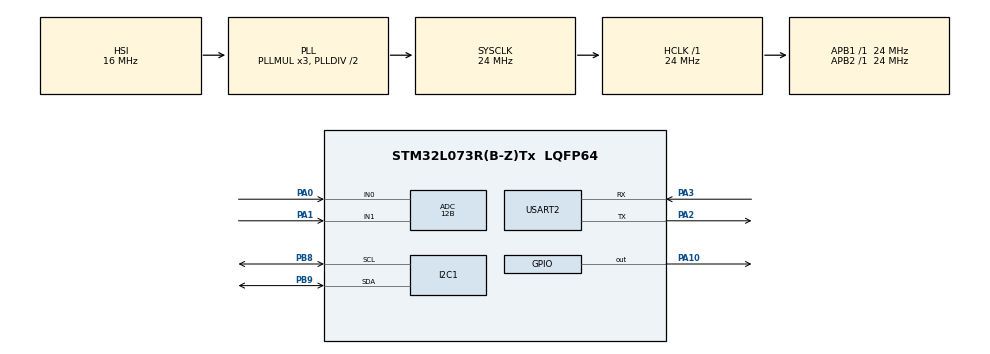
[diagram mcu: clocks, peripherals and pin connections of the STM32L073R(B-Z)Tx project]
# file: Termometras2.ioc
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ADC.ClockPrescaler=ADC_CLOCK_ASYNC_DIV2
ADC.DiscontinuousConvMode=ENABLE
ADC.Resolution=ADC_RESOLUTION_12B
ADC.SamplingTime=ADC_SAMPLETIME_39CYCLES_5
I2C1.Timing=0x00506682
Mcu.Family=STM32L0
Mcu.Name=STM32L073R(B-Z)Tx
Mcu.Package=LQFP64
NVIC.TIM3_IRQn=true\:0\:0\:false\:false\:true\:true\:true\:true
NVIC.TIM6_DAC_IRQn=true\:0\:0\:false\:false\:true\:true\:true\:true
PA0.Mode=IN0
PA0.Signal=ADC_IN0
PA1.Mode=IN1
PA1.Signal=ADC_IN1
PA10.Signal=GPIO_Output
PA13.Mode=Serial_Wire
PA13.Signal=SYS_SWDIO
PA14.Mode=Serial_Wire
PA14.Signal=SYS_SWCLK
PA2.GPIO_PuPd=GPIO_PULLUP
PA2.Mode=Asynchronous
PA2.Signal=USART2_TX
PA3.GPIO_PuPd=GPIO_PULLUP
PA3.Mode=Asynchronous
PA3.Signal=USART2_RX
PB8.GPIO_Pu=GPIO_PULLUP
PB8.Mode=I2C
PB8.Signal=I2C1_SCL
PB9.GPIO_Pu=GPIO_PULLUP
PB9.Mode=I2C
PB9.Signal=I2C1_SDA
PH0-OSC_IN.Mode=HSE-External-Oscillator
PH0-OSC_IN.Signal=RCC_OSC_IN
PH1-OSC_OUT.Mode=HSE-External-Oscillator
PH1-OSC_OUT.Signal=RCC_OSC_OUT
ProjectManager.HeapSize=0x200
ProjectManager.StackSize=0x400
ProjectManager.TargetToolchain=MDK-ARM V5.32
RCC.AHBFreq_Value=24000000
RCC.APB1Freq_Value=24000000
RCC.APB1TimFreq_Value=24000000
RCC.APB2Freq_Value=24000000
RCC.APB2TimFreq_Value=24000000
RCC.HCLKFreq_Value=24000000
RCC.HSE_VALUE=8000000
RCC.HSI16_VALUE=16000000
RCC.HSI48_VALUE=48000000
RCC.HSI_VALUE=16000000
RCC.LSE_VALUE=32768
RCC.MSI_VALUE=2097000
RCC.SYSCLKFreq_VALUE=24000000
RCC.SYSCLKSource=RCC_SYSCLKSOURCE_PLLCLK
RCC.VCOOutputFreq_Value=48000000
TIM3.Period=24000
TIM3.Prescaler=2000
TIM6.Period=24000
TIM6.Prescaler=2000
USART2.VirtualMode-Asynchronous=VM_ASYNC
VP_TIM3_VS_ClockSourceINT.Mode=Internal
VP_TIM6_VS_ClockSourceINT.Mode=Enable_Timer
board=custom

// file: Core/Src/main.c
/* USER CODE BEGIN Header */
/**
  ******************************************************************************
  * @file           : main.c
  * @brief          : Main program body
  ******************************************************************************
  * @attention
  *
  * Copyright (c) 2024 STMicroelectronics.
  * All rights reserved.
  *
  * This software is licensed under terms that can be found in the LICENSE file
  * in the root directory of this software component.
  * If no LICENSE file comes with this software, it is provided AS-IS.
  *
  ******************************************************************************
  */
/* USER CODE END Header */
#include "main.h"

/* USER CODE BEGIN Includes */
 #include "i2c-lcd.h"
 #include <stdio.h>
 #include <string.h>
/* USER CODE END Includes */

/* USER CODE BEGIN PD */
#define UART_TIMEOUT 100
/* USER CODE END PD */

ADC_HandleTypeDef hadc;

I2C_HandleTypeDef hi2c1;

TIM_HandleTypeDef htim3;
TIM_HandleTypeDef htim6;

UART_HandleTypeDef huart2;

/* USER CODE BEGIN PV */
unsigned int array1[10], array2[10];
unsigned int i=0,  j=0, counter;
uint16_t adcval1=0, adcval2=0;
uint8_t msg[100];
float temp1, temp2, Vout1, Vout2, vid, max1 = 0, min1=30, min2=30, max2=0, range1 = 0, range2 = 0;
/* USER CODE END PV */

void SystemClock_Config(void);
static void MX_GPIO_Init(void);
static void MX_ADC_Init(void);
static void MX_USART2_UART_Init(void);
static void MX_I2C1_Init(void);
static void MX_TIM6_Init(void);
static void MX_TIM3_Init(void);

/* USER CODE BEGIN 0 */
void send_sensor_data_via_uart(float temp1, float temp2, float range1, float range2)
{
    // Format sensor data into a string
    snprintf((char *)msg, sizeof(msg), "Temp1: %.2f, Temp2: %.2f, Range2: %.2f, Range1: %.2f\r\n", temp1, temp2, range1, range2);

    // Transmit the formatted string via UART
    HAL_UART_Transmit(&huart2, msg, strlen((char *)msg), UART_TIMEOUT);
}

/* USER CODE END 0 */

int main(void)
{

  /* MCU Configuration--------------------------------------------------------*/

  /* Reset of all peripherals, Initializes the Flash interface and the Systick. */
  HAL_Init();

  /* Configure the system clock */
  SystemClock_Config();

  /* Initialize all configured peripherals */
  MX_GPIO_Init();
  MX_ADC_Init();
  MX_USART2_UART_Init();
  MX_I2C1_Init();
  MX_TIM6_Init();
  MX_TIM3_Init();
	lcd_init();
	HAL_TIM_Base_Start_IT(&htim6);
  /* USER CODE BEGIN 2 */
 if (HAL_ADCEx_Calibration_Start(&hadc, ADC_SINGLE_ENDED) != HAL_OK)
  {
    Error_Handler();
  }

  /* USER CODE END 2 */

  /* Infinite loop */
  while (1)
  {

    /* USER CODE BEGIN 3 */
		//Get ADC value

		HAL_ADC_Start(&hadc);
		HAL_ADC_PollForConversion(&hadc, HAL_MAX_DELAY);
		adcval1 = HAL_ADC_GetValue(&hadc);
		temp1 = (adcval1*330.0/4096.0);

		HAL_ADC_Start(&hadc);
		HAL_ADC_PollForConversion(&hadc, HAL_MAX_DELAY);
		adcval2 = HAL_ADC_GetValue(&hadc);
		temp2 = (adcval2*330.0/4096.0);
		vid= (temp1+temp2)/2;

		if(i<10 )

		{

//Read adc value and assign in array

		array1[i] = temp1;
		array2[i] = temp2;
		i++;

		if (i==10)
		{
			i=0;
		}

}

	}
}
void HAL_TIM_PeriodElapsedCallback(TIM_HandleTypeDef *htim)
{
    if (htim == &htim6) // Laikmacio 6 pertraukimas
    {

			if (counter%2==0)
			{
			send_sensor_data_via_uart( temp1, temp2, range1, range2);
			}
			if (counter>1)
			{
						lcd_send_cmd(0x80);
            lcd_send_string("t1=");
            lcd_send_float(temp1, 2);
						lcd_send_string("C");

            lcd_send_cmd(0x89);
            lcd_send_string("t2=");
            lcd_send_float(temp2, 2);
						lcd_send_string("C");

            lcd_send_cmd(0xc0);
            lcd_send_string("r1=");
            lcd_send_float(range1, 2);
						lcd_send_string("C");

						lcd_send_cmd(0xc9);
            lcd_send_string("r2=");
            lcd_send_float(range2, 2);
						lcd_send_string("C");

			}
			if (counter>1)
			{

				for (int j = 0; j < 10; j++)
            {
                if (array1[j] > max1)
                {
                    max1 = array1[j];
                }
                if (array1[j] < min1)
                {
                    min1 = array1[j];
                }
            }

						for (int j = 0; j < 10; j++)
            {
                if (array2[j] > max2)
                {
                    max2 = array2[j];
                }
                if (array2[j] < min2)
                {
                    min2 = array2[j];

                }

            }
							range1= max1 - min1;
							range2= max2 - min2;

		}
			counter++;

}

  /* USER CODE END 3 */
}

void SystemClock_Config(void)
{
  RCC_OscInitTypeDef RCC_OscInitStruct = {0};
  RCC_ClkInitTypeDef RCC_ClkInitStruct = {0};
  RCC_PeriphCLKInitTypeDef PeriphClkInit = {0};

  /** Configure the main internal regulator output voltage
  */
  __HAL_PWR_VOLTAGESCALING_CONFIG(PWR_REGULATOR_VOLTAGE_SCALE1);

  /** Initializes the RCC Oscillators according to the specified parameters
  * in the RCC_OscInitTypeDef structure.
  */
  RCC_OscInitStruct.OscillatorType = RCC_OSCILLATORTYPE_HSI;
  RCC_OscInitStruct.HSIState = RCC_HSI_ON;
  RCC_OscInitStruct.HSICalibrationValue = RCC_HSICALIBRATION_DEFAULT;
  RCC_OscInitStruct.PLL.PLLState = RCC_PLL_ON;
  RCC_OscInitStruct.PLL.PLLSource = RCC_PLLSOURCE_HSI;
  RCC_OscInitStruct.PLL.PLLMUL = RCC_PLLMUL_3;
  RCC_OscInitStruct.PLL.PLLDIV = RCC_PLLDIV_2;
  if (HAL_RCC_OscConfig(&RCC_OscInitStruct) != HAL_OK)
  {
    Error_Handler();
  }

  /** Initializes the CPU, AHB and APB buses clocks
  */
  RCC_ClkInitStruct.ClockType = RCC_CLOCKTYPE_HCLK|RCC_CLOCKTYPE_SYSCLK
                              |RCC_CLOCKTYPE_PCLK1|RCC_CLOCKTYPE_PCLK2;
  RCC_ClkInitStruct.SYSCLKSource = RCC_SYSCLKSOURCE_PLLCLK;
  RCC_ClkInitStruct.AHBCLKDivider = RCC_SYSCLK_DIV1;
  RCC_ClkInitStruct.APB1CLKDivider = RCC_HCLK_DIV1;
  RCC_ClkInitStruct.APB2CLKDivider = RCC_HCLK_DIV1;

  if (HAL_RCC_ClockConfig(&RCC_ClkInitStruct, FLASH_LATENCY_1) != HAL_OK)
  {
    Error_Handler();
  }
  PeriphClkInit.PeriphClockSelection = RCC_PERIPHCLK_USART2|RCC_PERIPHCLK_I2C1;
  PeriphClkInit.Usart2ClockSelection = RCC_USART2CLKSOURCE_PCLK1;
  PeriphClkInit.I2c1ClockSelection = RCC_I2C1CLKSOURCE_PCLK1;
  if (HAL_RCCEx_PeriphCLKConfig(&PeriphClkInit) != HAL_OK)
  {
    Error_Handler();
  }
}

static void MX_ADC_Init(void)
{

  ADC_ChannelConfTypeDef sConfig = {0};

  /** Configure the global features of the ADC (Clock, Resolution, Data Alignment and number of conversion)
  */
  hadc.Instance = ADC1;
  hadc.Init.OversamplingMode = DISABLE;
  hadc.Init.ClockPrescaler = ADC_CLOCK_ASYNC_DIV2;
  hadc.Init.Resolution = ADC_RESOLUTION_12B;
  hadc.Init.SamplingTime = ADC_SAMPLETIME_39CYCLES_5;
  hadc.Init.ScanConvMode = ADC_SCAN_DIRECTION_FORWARD;
  hadc.Init.DataAlign = ADC_DATAALIGN_RIGHT;
  hadc.Init.ContinuousConvMode = DISABLE;
  hadc.Init.DiscontinuousConvMode = ENABLE;
  hadc.Init.ExternalTrigConvEdge = ADC_EXTERNALTRIGCONVEDGE_NONE;
  hadc.Init.ExternalTrigConv = ADC_SOFTWARE_START;
  hadc.Init.DMAContinuousRequests = DISABLE;
  hadc.Init.EOCSelection = ADC_EOC_SINGLE_CONV;
  hadc.Init.Overrun = ADC_OVR_DATA_PRESERVED;
  hadc.Init.LowPowerAutoWait = DISABLE;
  hadc.Init.LowPowerFrequencyMode = DISABLE;
  hadc.Init.LowPowerAutoPowerOff = DISABLE;
  if (HAL_ADC_Init(&hadc) != HAL_OK)
  {
    Error_Handler();
  }

  /** Configure for the selected ADC regular channel to be converted.
  */
  sConfig.Channel = ADC_CHANNEL_0;
  sConfig.Rank = ADC_RANK_CHANNEL_NUMBER;
  if (HAL_ADC_ConfigChannel(&hadc, &sConfig) != HAL_OK)
  {
    Error_Handler();
  }

  /** Configure for the selected ADC regular channel to be converted.
  */
  sConfig.Channel = ADC_CHANNEL_1;
  if (HAL_ADC_ConfigChannel(&hadc, &sConfig) != HAL_OK)
  {
    Error_Handler();
  }

}

static void MX_I2C1_Init(void)
{

  hi2c1.Instance = I2C1;
  hi2c1.Init.Timing = 0x00506682;
  hi2c1.Init.OwnAddress1 = 0;
  hi2c1.Init.AddressingMode = I2C_ADDRESSINGMODE_7BIT;
  hi2c1.Init.DualAddressMode = I2C_DUALADDRESS_DISABLE;
  hi2c1.Init.OwnAddress2 = 0;
  hi2c1.Init.OwnAddress2Masks = I2C_OA2_NOMASK;
  hi2c1.Init.GeneralCallMode = I2C_GENERALCALL_DISABLE;
  hi2c1.Init.NoStretchMode = I2C_NOSTRETCH_DISABLE;
  if (HAL_I2C_Init(&hi2c1) != HAL_OK)
  {
    Error_Handler();
  }

  /** Configure Analogue filter
  */
  if (HAL_I2CEx_ConfigAnalogFilter(&hi2c1, I2C_ANALOGFILTER_ENABLE) != HAL_OK)
  {
    Error_Handler();
  }

  /** Configure Digital filter
  */
  if (HAL_I2CEx_ConfigDigitalFilter(&hi2c1, 0) != HAL_OK)
  {
    Error_Handler();
  }

}

static void MX_TIM3_Init(void)
{

  TIM_ClockConfigTypeDef sClockSourceConfig = {0};
  TIM_MasterConfigTypeDef sMasterConfig = {0};

  htim3.Instance = TIM3;
  htim3.Init.Prescaler = 2000;
  htim3.Init.CounterMode = TIM_COUNTERMODE_UP;
  htim3.Init.Period = 24000;
  htim3.Init.ClockDivision = TIM_CLOCKDIVISION_DIV1;
  htim3.Init.AutoReloadPreload = TIM_AUTORELOAD_PRELOAD_DISABLE;
  if (HAL_TIM_Base_Init(&htim3) != HAL_OK)
  {
    Error_Handler();
  }
  sClockSourceConfig.ClockSource = TIM_CLOCKSOURCE_INTERNAL;
  if (HAL_TIM_ConfigClockSource(&htim3, &sClockSourceConfig) != HAL_OK)
  {
    Error_Handler();
  }
  sMasterConfig.MasterOutputTrigger = TIM_TRGO_RESET;
  sMasterConfig.MasterSlaveMode = TIM_MASTERSLAVEMODE_DISABLE;
  if (HAL_TIMEx_MasterConfigSynchronization(&htim3, &sMasterConfig) != HAL_OK)
  {
    Error_Handler();
  }

}

static void MX_TIM6_Init(void)
{

  TIM_MasterConfigTypeDef sMasterConfig = {0};

  htim6.Instance = TIM6;
  htim6.Init.Prescaler = 2000;
  htim6.Init.CounterMode = TIM_COUNTERMODE_UP;
  htim6.Init.Period = 24000;
  htim6.Init.AutoReloadPreload = TIM_AUTORELOAD_PRELOAD_DISABLE;
  if (HAL_TIM_Base_Init(&htim6) != HAL_OK)
  {
    Error_Handler();
  }
  sMasterConfig.MasterOutputTrigger = TIM_TRGO_RESET;
  sMasterConfig.MasterSlaveMode = TIM_MASTERSLAVEMODE_DISABLE;
  if (HAL_TIMEx_MasterConfigSynchronization(&htim6, &sMasterConfig) != HAL_OK)
  {
    Error_Handler();
  }

}

static void MX_USART2_UART_Init(void)
{

  huart2.Instance = USART2;
  huart2.Init.BaudRate = 115200;
  huart2.Init.WordLength = UART_WORDLENGTH_8B;
  huart2.Init.StopBits = UART_STOPBITS_1;
  huart2.Init.Parity = UART_PARITY_NONE;
  huart2.Init.Mode = UART_MODE_TX_RX;
  huart2.Init.HwFlowCtl = UART_HWCONTROL_NONE;
  huart2.Init.OverSampling = UART_OVERSAMPLING_16;
  huart2.Init.OneBitSampling = UART_ONE_BIT_SAMPLE_DISABLE;
  huart2.AdvancedInit.AdvFeatureInit = UART_ADVFEATURE_NO_INIT;
  if (HAL_UART_Init(&huart2) != HAL_OK)
  {
    Error_Handler();
  }

}

static void MX_GPIO_Init(void)
{
  GPIO_InitTypeDef GPIO_InitStruct = {0};

  /* GPIO Ports Clock Enable */
  __HAL_RCC_GPIOH_CLK_ENABLE();
  __HAL_RCC_GPIOA_CLK_ENABLE();
  __HAL_RCC_GPIOB_CLK_ENABLE();

  /*Configure GPIO pin Output Level */
  HAL_GPIO_WritePin(GPIOA, GPIO_PIN_10, GPIO_PIN_RESET);

  /*Configure GPIO pin : PA10 */
  GPIO_InitStruct.Pin = GPIO_PIN_10;
  GPIO_InitStruct.Mode = GPIO_MODE_OUTPUT_PP;
  GPIO_InitStruct.Pull = GPIO_NOPULL;
  GPIO_InitStruct.Speed = GPIO_SPEED_FREQ_LOW;
  HAL_GPIO_Init(GPIOA, &GPIO_InitStruct);

}

void Error_Handler(void)
{
  __disable_irq();
  while (1)
  {
  }
}
